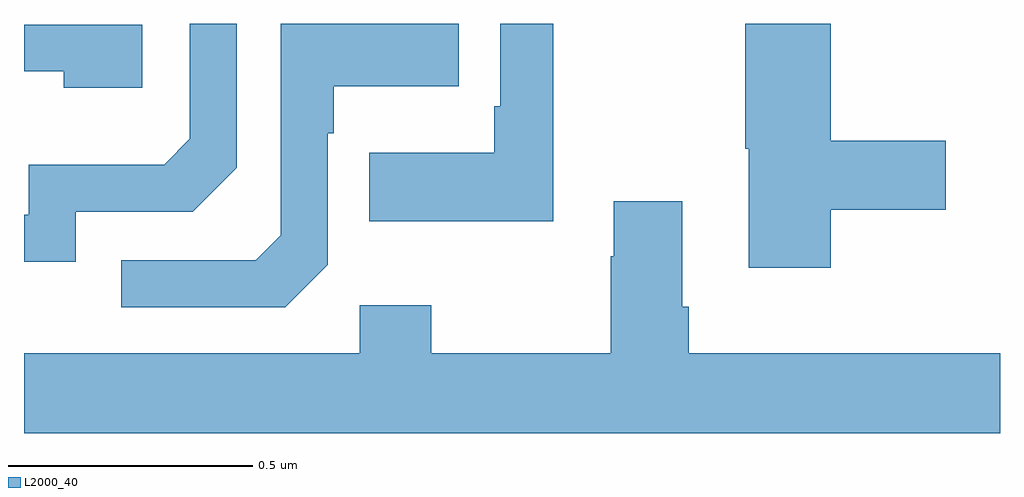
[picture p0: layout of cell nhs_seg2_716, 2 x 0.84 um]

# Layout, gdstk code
import gdstk
lib = gdstk.Library(unit=1e-6, precision=1e-09)
def P(c, l, *ps):  # polygons
    for p in ps: c.add(gdstk.Polygon(p, *l))
L2000_40 = (2000, 40)

nhs_seg2_716 = lib.new_cell('nhs_seg2_716')
P(nhs_seg2_716, L2000_40, [(119.622,657.306),(119.622,657.575),(119.635,657.575),(119.635,657.671),(119.891,657.671),(119.891,657.8),(119.526,657.8),(119.526,657.366),(119.475,657.315),(119.199,657.315),(119.199,657.219),(119.535,657.219)],
  [(120.085,657.8),(119.976,657.8),(119.976,657.631),(119.964,657.631),(119.964,657.535),(119.707,657.535),(119.707,657.395),(120.085,657.395)],
  [(119.106,657.414),(119.346,657.414),(119.436,657.504),(119.436,657.8),(119.34,657.8),(119.34,657.564),(119.287,657.511),(119.01,657.511),(119.01,657.408),(119,657.408),(119,657.312),(119.106,657.312)],
  [(120.653,657.418),(120.889,657.418),(120.889,657.56),(120.653,657.56),(120.653,657.8),(120.478,657.8),(120.478,657.543),(120.485,657.543),(120.485,657.3),(120.653,657.3)],
  [(119.242,657.798),(119,657.798),(119,657.702),(119.081,657.702),(119.081,657.668),(119.242,657.668)],
  [(121,657.124),(120.362,657.124),(120.362,657.22),(120.349,657.22),(120.349,657.436),(120.209,657.436),(120.209,657.323),(120.202,657.323),(120.202,657.124),(119.835,657.124),(119.835,657.223),(119.688,657.223),(119.688,657.124),(119,657.124),(119,656.96),(121,656.96)])

lib.write_gds('nhs_seg2_716.gds')
